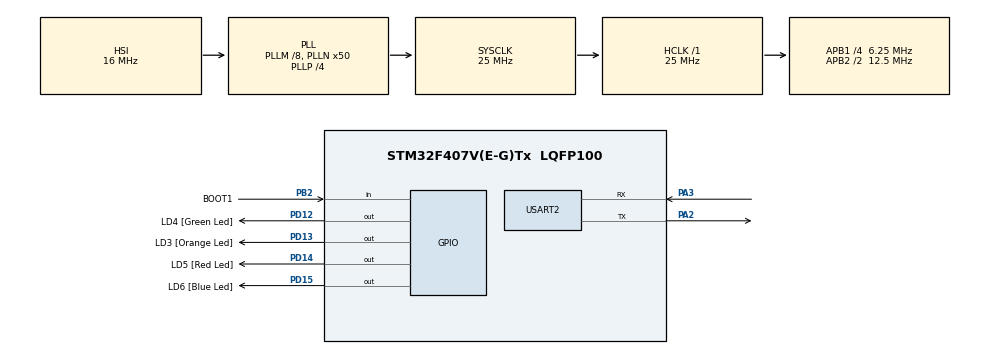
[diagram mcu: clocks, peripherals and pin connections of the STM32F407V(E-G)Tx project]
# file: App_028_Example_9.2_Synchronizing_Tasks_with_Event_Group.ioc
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Mcu.Family=STM32F4
Mcu.Name=STM32F407V(E-G)Tx
Mcu.Package=LQFP100
NVIC.PriorityGroup=NVIC_PRIORITYGROUP_4
NVIC.TIM6_DAC_IRQn=true\:0\:0\:false\:false\:true\:false\:true\:true
NVIC.TimeBase=TIM6_DAC_IRQn
NVIC.TimeBaseIP=TIM6
PA13.GPIO_Label=SWDIO
PA13.Signal=SYS_JTMS-SWDIO
PA14.GPIO_Label=SWCLK
PA14.Signal=SYS_JTCK-SWCLK
PA2.Mode=Asynchronous
PA2.Signal=USART2_TX
PA3.Mode=Asynchronous
PA3.Signal=USART2_RX
PB2.GPIO_Label=BOOT1
PB2.GPIO_Mode=GPIO_MODE_INPUT
PB2.GPIO_PuPd=GPIO_NOPULL
PB2.Signal=GPIO_Input
PB3.GPIO_Label=SWO
PB3.Signal=SYS_JTDO-SWO
PC7.GPIO_Label=I2S3_MCK [CS43L22_MCLK]
PC7.GPIO_Mode=GPIO_MODE_AF_PP
PC7.GPIO_PuPd=GPIO_NOPULL
PC7.GPIO_Speed=GPIO_SPEED_FREQ_LOW
PC7.Signal=I2S3_MCK
PD12.GPIO_Label=LD4 [Green Led]
PD12.GPIO_PuPd=GPIO_NOPULL
PD12.GPIO_Speed=GPIO_SPEED_FREQ_LOW
PD12.Signal=GPIO_Output
PD13.GPIO_Label=LD3 [Orange Led]
PD13.GPIO_PuPd=GPIO_NOPULL
PD13.GPIO_Speed=GPIO_SPEED_FREQ_LOW
PD13.Signal=GPIO_Output
PD14.GPIO_Label=LD5 [Red Led]
PD14.GPIO_PuPd=GPIO_NOPULL
PD14.GPIO_Speed=GPIO_SPEED_FREQ_LOW
PD14.Signal=GPIO_Output
PD15.GPIO_Label=LD6 [Blue Led]
PD15.GPIO_PuPd=GPIO_NOPULL
PD15.GPIO_Speed=GPIO_SPEED_FREQ_LOW
PD15.Signal=GPIO_Output
ProjectManager.HeapSize=0x200
ProjectManager.StackSize=0x400
ProjectManager.TargetToolchain=STM32CubeIDE
RCC.48MHZClocksFreq_Value=14285714.285714285
RCC.AHBFreq_Value=25000000
RCC.APB1CLKDivider=RCC_HCLK_DIV4
RCC.APB1Freq_Value=6250000
RCC.APB1TimFreq_Value=12500000
RCC.APB2CLKDivider=RCC_HCLK_DIV2
RCC.APB2Freq_Value=12500000
RCC.APB2TimFreq_Value=25000000
RCC.CortexFreq_Value=25000000
RCC.HCLKFreq_Value=25000000
RCC.HSE_VALUE=8000000
RCC.HSI_VALUE=16000000
RCC.LSE_VALUE=32768
RCC.PLLM=8
RCC.PLLN=50
RCC.PLLP=RCC_PLLP_DIV4
RCC.PLLQ=7
RCC.SYSCLKFreq_VALUE=25000000
RCC.SYSCLKSource=RCC_SYSCLKSOURCE_PLLCLK
RCC.VCOOutputFreq_Value=100000000
USART2.VirtualMode=VM_ASYNC
VP_SYS_VS_tim6.Mode=TIM6
board=STM32F407G-DISC1

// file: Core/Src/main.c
/* USER CODE BEGIN Header */
/**
  ******************************************************************************
  * @file           : main.c
  * @brief          : Main program body
  ******************************************************************************
  * @attention
  *
  * Copyright (c) 2024 STMicroelectronics.
  * All rights reserved.
  *
  * This software is licensed under terms that can be found in the LICENSE file
  * in the root directory of this software component.
  * If no LICENSE file comes with this software, it is provided AS-IS.
  *
  *
  ******************************************************************************
  */

/**
 * @author  Julio Cesar Bernal Mendez
 * @brief   This is the "Example 9.2 Synchronizing tasks"
 *          from the Mastering the FreeRTOS Real Time Kernel v1.0 book.
 *
 *          This example uses xEventGroupSync() to synchronize three instances of a
 *          single task implementation.
 *          The task parameter is used to pass into each instance the event bit the
 *          task will set when it calls xEventGroupSync().
 *
 *          The task prints a message before calling xEventGroupSync(),
 *          and again after the call to xEventGroupSync() has returned.
 *          Each message includes a time stamp. This allows the sequence of execution
 *          to be observed in the output produced.
 *          A pseudo random delay (200ms to 699ms) is used to prevent all the tasks reaching
 *          the synchronization point at the same time.
 *
 *          Even though each task reaches the synchronization point at a different
 *          (pseudo random) time, each task exits the synchronization point at the
 *          same time (which is the time at which the last task reached the
 *          synchronization point).
 *
 * @version 0.1
 * @date    2024-12-20
 *
 */
/* USER CODE END Header */
#include "main.h"

/* USER CODE BEGIN Includes */
#include <stdio.h>
#include <stdlib.h>
#include "FreeRTOS.h"
#include "task.h"
#include "timers.h"
#include "event_groups.h"
/* USER CODE END Includes */

/* USER CODE BEGIN PD */
/* definitions for the event bits in the event group */
#define mainTHIRD_TASK_BIT     ( 1UL << 2UL ) /* event bit 2, set by the third  instance of task vSyncingTask() */
#define mainSECOND_TASK_BIT    ( 1UL << 1UL ) /* event bit 1, set by the second instance of task vSyncingTask() */
#define mainFIRST_TASK_BIT     ( 1UL << 0UL ) /* event bit 0, set by the first  instance of task vSyncingTask() */

#define STRING_SIZE            ( 50 )
/* USER CODE END PD */

UART_HandleTypeDef huart2;

/* USER CODE BEGIN PV */
EventGroupHandle_t xEventGroup;
char cOutputString[ STRING_SIZE ];
/* USER CODE END PV */

void SystemClock_Config(void);
static void MX_GPIO_Init(void);
static void MX_USART2_UART_Init(void);
/* USER CODE BEGIN PFP */
void UART2_Print_Text( UART_HandleTypeDef *huart, const char *text );

static void vSyncingTask( void *pvParameters );
/* USER CODE END PFP */

int main(void)
{

  /* MCU Configuration--------------------------------------------------------*/

  /* Reset of all peripherals, Initializes the Flash interface and the Systick. */
  HAL_Init();

  /* Configure the system clock */
  SystemClock_Config();

  /* Initialize all configured peripherals */
  MX_GPIO_Init();
  MX_USART2_UART_Init();
  /* USER CODE BEGIN 2 */
  /* enable CYCCNT (Cycle Count, needed for SEGGER SystemView) in DWT_CTRL register */
  DWT->CTRL |= DWT_CTRL_CYCCNTENA_Msk;

  /* initialize and configure SEGGER SystemView */
  SEGGER_SYSVIEW_Conf();

  /* start recording SEGGER SystemView events */
  SEGGER_SYSVIEW_Start();

  /* before an event group can be used, it must first be created */
  xEventGroup = xEventGroupCreate();

  /* Create three instances of the task.
     Each task is given a different name, which is later printed out to give
     a visual indication of which task is executing.
     The event bit to use when the task reaches its synchronization point is
     passed into the task using the task parameter */
  xTaskCreate( vSyncingTask, "Task 1", 1000, ( void * const ) mainFIRST_TASK_BIT, 1, NULL );
  xTaskCreate( vSyncingTask, "Task 2", 1000, ( void * const ) mainSECOND_TASK_BIT, 2, NULL );
  xTaskCreate( vSyncingTask, "Task 3", 1000, ( void * const ) mainTHIRD_TASK_BIT, 3, NULL );

  /* start the scheduler */
  vTaskStartScheduler();
  /* USER CODE END 2 */

  /* Infinite loop */
  /* USER CODE BEGIN WHILE */

  /* If all is well, main() will not reach here because the scheduler will now
     be running the created tasks.
     If main() does reach here, then there was not enough heap memory to create either
     the idle or timer tasks */
  while (1)
  {
    /* USER CODE END WHILE */

  }
}

void SystemClock_Config(void)
{
  RCC_OscInitTypeDef RCC_OscInitStruct = {0};
  RCC_ClkInitTypeDef RCC_ClkInitStruct = {0};

  /** Configure the main internal regulator output voltage
  */
  __HAL_RCC_PWR_CLK_ENABLE();
  __HAL_PWR_VOLTAGESCALING_CONFIG(PWR_REGULATOR_VOLTAGE_SCALE1);

  /** Initializes the RCC Oscillators according to the specified parameters
  * in the RCC_OscInitTypeDef structure.
  */
  RCC_OscInitStruct.OscillatorType = RCC_OSCILLATORTYPE_HSI;
  RCC_OscInitStruct.HSIState = RCC_HSI_ON;
  RCC_OscInitStruct.HSICalibrationValue = RCC_HSICALIBRATION_DEFAULT;
  RCC_OscInitStruct.PLL.PLLState = RCC_PLL_ON;
  RCC_OscInitStruct.PLL.PLLSource = RCC_PLLSOURCE_HSI;
  RCC_OscInitStruct.PLL.PLLM = 8;
  RCC_OscInitStruct.PLL.PLLN = 50;
  RCC_OscInitStruct.PLL.PLLP = RCC_PLLP_DIV4;
  RCC_OscInitStruct.PLL.PLLQ = 7;
  if (HAL_RCC_OscConfig(&RCC_OscInitStruct) != HAL_OK)
  {
    Error_Handler();
  }

  /** Initializes the CPU, AHB and APB buses clocks
  */
  RCC_ClkInitStruct.ClockType = RCC_CLOCKTYPE_HCLK|RCC_CLOCKTYPE_SYSCLK
                              |RCC_CLOCKTYPE_PCLK1|RCC_CLOCKTYPE_PCLK2;
  RCC_ClkInitStruct.SYSCLKSource = RCC_SYSCLKSOURCE_PLLCLK;
  RCC_ClkInitStruct.AHBCLKDivider = RCC_SYSCLK_DIV1;
  RCC_ClkInitStruct.APB1CLKDivider = RCC_HCLK_DIV4;
  RCC_ClkInitStruct.APB2CLKDivider = RCC_HCLK_DIV2;

  if (HAL_RCC_ClockConfig(&RCC_ClkInitStruct, FLASH_LATENCY_0) != HAL_OK)
  {
    Error_Handler();
  }
}

static void MX_USART2_UART_Init(void)
{

  huart2.Instance = USART2;
  huart2.Init.BaudRate = 115200;
  huart2.Init.WordLength = UART_WORDLENGTH_8B;
  huart2.Init.StopBits = UART_STOPBITS_1;
  huart2.Init.Parity = UART_PARITY_NONE;
  huart2.Init.Mode = UART_MODE_TX_RX;
  huart2.Init.HwFlowCtl = UART_HWCONTROL_NONE;
  huart2.Init.OverSampling = UART_OVERSAMPLING_16;
  if (HAL_UART_Init(&huart2) != HAL_OK)
  {
    Error_Handler();
  }

}

static void MX_GPIO_Init(void)
{
  GPIO_InitTypeDef GPIO_InitStruct = {0};

  /* GPIO Ports Clock Enable */
  __HAL_RCC_GPIOA_CLK_ENABLE();
  __HAL_RCC_GPIOB_CLK_ENABLE();
  __HAL_RCC_GPIOD_CLK_ENABLE();
  __HAL_RCC_GPIOC_CLK_ENABLE();

  /*Configure GPIO pin Output Level */
  HAL_GPIO_WritePin(GPIOD, LD4_Pin|LD3_Pin|LD5_Pin|LD6_Pin, GPIO_PIN_RESET);

  /*Configure GPIO pin : BOOT1_Pin */
  GPIO_InitStruct.Pin = BOOT1_Pin;
  GPIO_InitStruct.Mode = GPIO_MODE_INPUT;
  GPIO_InitStruct.Pull = GPIO_NOPULL;
  HAL_GPIO_Init(BOOT1_GPIO_Port, &GPIO_InitStruct);

  /*Configure GPIO pins : LD4_Pin LD3_Pin LD5_Pin LD6_Pin */
  GPIO_InitStruct.Pin = LD4_Pin|LD3_Pin|LD5_Pin|LD6_Pin;
  GPIO_InitStruct.Mode = GPIO_MODE_OUTPUT_PP;
  GPIO_InitStruct.Pull = GPIO_NOPULL;
  GPIO_InitStruct.Speed = GPIO_SPEED_FREQ_LOW;
  HAL_GPIO_Init(GPIOD, &GPIO_InitStruct);

  /*Configure GPIO pin : I2S3_MCK_Pin */
  GPIO_InitStruct.Pin = I2S3_MCK_Pin;
  GPIO_InitStruct.Mode = GPIO_MODE_AF_PP;
  GPIO_InitStruct.Pull = GPIO_NOPULL;
  GPIO_InitStruct.Speed = GPIO_SPEED_FREQ_LOW;
  GPIO_InitStruct.Alternate = GPIO_AF6_SPI3;
  HAL_GPIO_Init(I2S3_MCK_GPIO_Port, &GPIO_InitStruct);

}

/* USER CODE BEGIN 4 */
void UART2_Print_Text( UART_HandleTypeDef *huart, const char *text )
{
  uint8_t character;

  /* loop through the string until null character found */
  for ( character = 0; text[ character ] != '\0'; character++ )
  {
    /* transmit current character over UART */
    HAL_UART_Transmit( huart, ( const uint8_t* ) &text[ character ], 1, 5000 );
  }
}

static void vSyncingTask( void *pvParameters )
{
  TickType_t       xDelayTime; /* used to get a pseudo random delay (200ms to 699ms) */
  const TickType_t xMaxDelay = pdMS_TO_TICKS( 500UL );
  const TickType_t xMinDelay = pdMS_TO_TICKS( 200UL );

  EventBits_t       uxThisTaskSyncBit; /* event bit to set by this task */
  const EventBits_t uxAllSyncBits = ( mainTHIRD_TASK_BIT | mainSECOND_TASK_BIT | mainFIRST_TASK_BIT ); /* event bits to sync */

  /* Three instances of this task are created - each task uses a different event bit
     in the synchronization.
     The event bit to use is passed into each task instance by using the task
     parameter.
     Store it in the uxThisTaskSyncBit variable */
  uxThisTaskSyncBit = ( EventBits_t ) pvParameters;

  for ( ;; )
  {
    /* Simulate this task taking some time to perform an action by delaying for
       a pseudo random time (200ms to 699ms).
       This prevents all three instances of this task reaching the synchronization
       point at the same time, and so allows the example's behavior to be
       observed more easily */
    xDelayTime = ( rand() % xMaxDelay ) + xMinDelay;
    vTaskDelay( xDelayTime );

    /* Print out a message to show this task has reached its synchronization point.
       pcTaskGetTaskName() is an API function that returns the name assigned
       to the task when the task was created */
    ( void ) snprintf( cOutputString, STRING_SIZE, "At time %10lu: %s reached sync point\n\r",
                       xTaskGetTickCount(), pcTaskGetName( NULL ) );
    UART2_Print_Text( &huart2, ( const char * ) cOutputString );

    /* wait for all the task to reach their respective synchronization points */
    xEventGroupSync( xEventGroup,       /* event group used to synchronize    */
                     uxThisTaskSyncBit, /* bit set by this task to indicate it has
                                           reached its synchronization point  */
                     uxAllSyncBits,     /* bits to wait for, one for each task
                                           taking part in the synchronization */
                     portMAX_DELAY      /* wait indefinitely for all three tasks
                                           to reach the synchronization point */
                   );

    /* Print out a message to show this task has passed its synchronization point.
       As an indefinite delay (200ms to 699ms) was used, the following line
       will only be executed after all the three tasks reached their respective
       synchronization point */
    ( void ) snprintf( cOutputString, STRING_SIZE, "At time %10lu: %s  exited sync point\n\r",
                       xTaskGetTickCount(), pcTaskGetName( NULL ) );
    UART2_Print_Text( &huart2, ( const char * ) cOutputString );
  }
}
/* USER CODE END 4 */

void HAL_TIM_PeriodElapsedCallback(TIM_HandleTypeDef *htim)
{
  if (htim->Instance == TIM6) {
    HAL_IncTick();
  }
}

void Error_Handler(void)
{
  __disable_irq();
  while (1)
  {
  }
}
